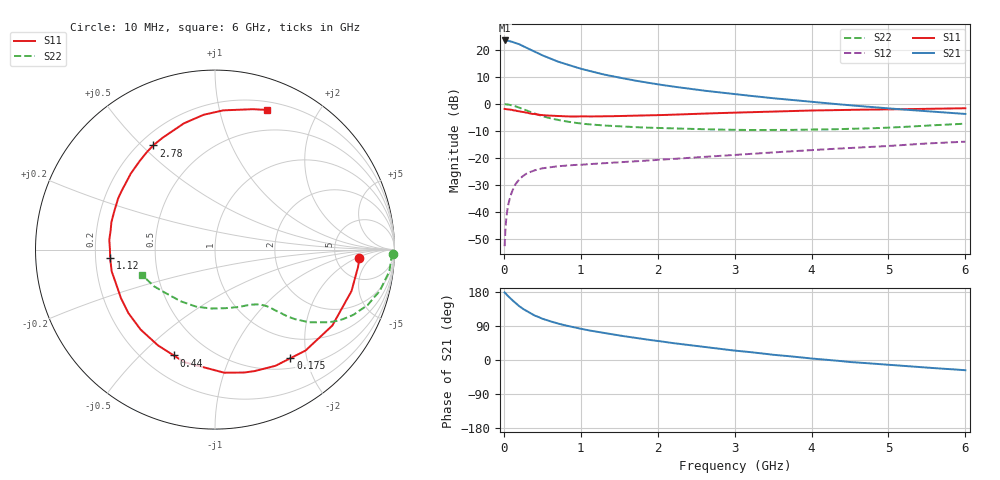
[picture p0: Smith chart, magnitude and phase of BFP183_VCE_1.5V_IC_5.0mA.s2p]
! Infineon Technologies  Discrete & RF Semiconductors
! BFP183
! VCE = 1.5 V,  IC =  5.0 mA
! Common Emitter S-Parameters:  Jan 2016
# GHz  S  MA  R  50
!  f  S11  S21  S12  S22
! GHz  MAG  ANG  MAG  ANG  MAG  ANG  MAG  ANG
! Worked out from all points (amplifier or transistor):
!   210 points, 10 MHz to 6 GHz, reference 50 ohm
!   highest |S21| = 23.5 dB at 10 MHz (marker M1)
!   |S21| within 3 dB of that: start of sweep to 316.4 MHz
!   unconditionally stable (mu >= 1): 1.517 GHz to 5.907 GHz
!   at 185 MHz: K = 0.17, MSG = 25.4 dB, |S12| = -28.5 dB
!   at 1.52 GHz: K = 1.00, MAG = 15.4 dB, |S12| = -21.6 dB
!   at 6 GHz: K = 0.98, MSG = 5.1 dB, |S12| = -14.0 dB
!   S11 on the Smith chart (normalised r, x): 10 MHz: 8.69, -2.30; 175 MHz: 0.65, -1.72; 440 MHz: 0.32, -0.63; 1.12 GHz: 0.26, -0.04; 2.78 GHz: 0.25, +0.54; 6 GHz: 0.28, +1.40
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0.01  0.8059 -3.3  15.01 178.2  0.0023 81.9  0.9929 -1.4
0.05  0.7949 -16.9  14.9 169.6  0.0119 82.4  0.9788 -7.1
0.1  0.7787 -32.9  14.29 159.8  0.0223 72.6  0.9469 -14.0
0.15  0.7555 -48.1  13.51 150.5  0.0322 65.6  0.9047 -20.0
0.175  0.7368 -55.2  13.11 146.4  0.0359 62.5  0.8777 -22.5
0.2  0.7299 -62.5  12.79 142.0  0.0397 60.0  0.8526 -25.2
0.26  0.7037 -76.7  11.59 133.6  0.0472 53.4  0.7902 -30.1
0.4  0.65 -105.3  9.325 117.4  0.0586 43.3  0.6622 -37.7
0.44  0.6329 -111.3  8.763 114.4  0.0606 41.1  0.6343 -38.9
0.5  0.621 -120.8  7.974 109.0  0.0638 38.0  0.593 -40.9
0.6  0.6085 -132.9  6.982 102.2  0.067 35.1  0.5419 -42.9
0.7  0.5984 -143.7  6.106 96.4  0.0696 32.9  0.5048 -44.1
0.8  0.5897 -152.6  5.494 91.2  0.0715 31.3  0.4755 -45.3
1.02  0.5873 -169.4  4.418 81.6  0.0747 29.3  0.4298 -47.4
1.12  0.5855 -175.6  4.063 77.7  0.0767 29.0  0.4161 -48.5
1.5  0.5971 165.3  3.073 64.7  0.0825 28.7  0.3833 -52.7
2.02  0.619 143.9  2.282 49.7  0.092 29.9  0.3572 -60.5
2.78  0.6745 120.6  1.645 30.0  0.108 30.1  0.3346 -76.0
3.1  0.6934 112.7  1.464 22.9  0.1156 29.8  0.329 -83.8
4.1  0.7573 93.1  1.06 2.3  0.1418 26.8  0.335 -111.5
5.1  0.7944 79.2  0.804 -14.2  0.1694 22.7  0.3682 -139.4
6  0.8302 69.6  0.651 -27.0  0.1993 15.8  0.4305 -161.1
